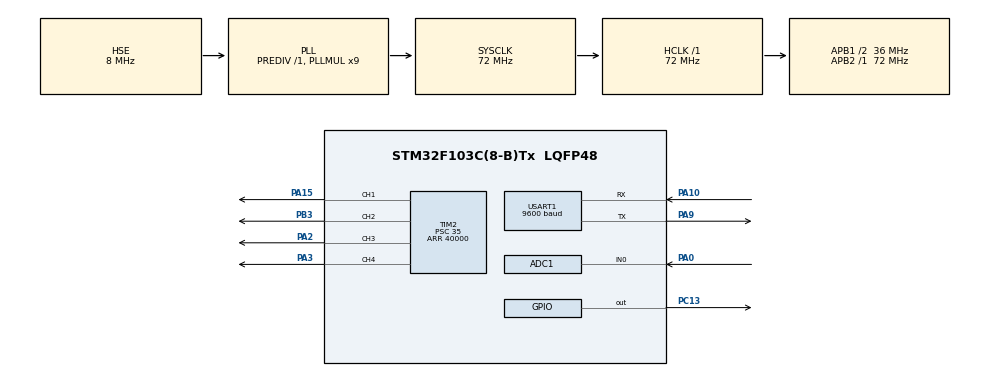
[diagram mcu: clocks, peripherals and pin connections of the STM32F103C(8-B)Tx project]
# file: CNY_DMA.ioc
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ADC1.Channel-0\#ChannelRegularConversion=ADC_CHANNEL_0
ADC1.ContinuousConvMode=ENABLE
ADC1.NbrOfConversionFlag=1
ADC1.Rank-0\#ChannelRegularConversion=1
ADC1.SamplingTime-0\#ChannelRegularConversion=ADC_SAMPLETIME_41CYCLES_5
ADC1.master=1
Dma.ADC1.0.Direction=DMA_PERIPH_TO_MEMORY
Dma.ADC1.0.Instance=DMA1_Channel1
Dma.ADC1.0.MemDataAlignment=DMA_MDATAALIGN_HALFWORD
Dma.ADC1.0.MemInc=DMA_MINC_ENABLE
Dma.ADC1.0.Mode=DMA_CIRCULAR
Dma.ADC1.0.PeriphDataAlignment=DMA_PDATAALIGN_HALFWORD
Dma.ADC1.0.PeriphInc=DMA_PINC_DISABLE
Dma.ADC1.0.Priority=DMA_PRIORITY_LOW
Dma.Request0=ADC1
Mcu.Family=STM32F1
Mcu.Name=STM32F103C(8-B)Tx
Mcu.Package=LQFP48
NVIC.DMA1_Channel1_IRQn=true\:0\:0\:false\:false\:true\:false\:true\:true
NVIC.PriorityGroup=NVIC_PRIORITYGROUP_4
NVIC.TIM1_UP_IRQn=true\:0\:0\:false\:false\:true\:true\:true\:true
PA0-WKUP.Signal=ADCx_IN0
PA10.Mode=Asynchronous
PA10.Signal=USART1_RX
PA13.Mode=Serial_Wire
PA13.Signal=SYS_JTMS-SWDIO
PA14.Mode=Serial_Wire
PA14.Signal=SYS_JTCK-SWCLK
PA15.Signal=S_TIM2_CH1_ETR
PA2.Signal=S_TIM2_CH3
PA3.Signal=S_TIM2_CH4
PA9.Mode=Asynchronous
PA9.Signal=USART1_TX
PB3.Signal=S_TIM2_CH2
PC13-TAMPER-RTC.Signal=GPIO_Output
PD0-OSC_IN.Mode=HSE-External-Oscillator
PD0-OSC_IN.Signal=RCC_OSC_IN
PD1-OSC_OUT.Mode=HSE-External-Oscillator
PD1-OSC_OUT.Signal=RCC_OSC_OUT
ProjectManager.HeapSize=0x200
ProjectManager.StackSize=0x400
ProjectManager.TargetToolchain=MDK-ARM V5.32
RCC.ADCPresc=RCC_ADCPCLK2_DIV8
RCC.AHBFreq_Value=72000000
RCC.APB1CLKDivider=RCC_HCLK_DIV2
RCC.APB1Freq_Value=36000000
RCC.APB1TimFreq_Value=72000000
RCC.APB2Freq_Value=72000000
RCC.APB2TimFreq_Value=72000000
RCC.HCLKFreq_Value=72000000
RCC.PLLMUL=RCC_PLL_MUL9
RCC.PLLSourceVirtual=RCC_PLLSOURCE_HSE
RCC.SYSCLKFreq_VALUE=72000000
RCC.SYSCLKSource=RCC_SYSCLKSOURCE_PLLCLK
RCC.USBFreq_Value=72000000
SH.ADCx_IN0.0=ADC1_IN0,IN0
SH.S_TIM2_CH1_ETR.0=TIM2_CH1,PWM Generation1 CH1
SH.S_TIM2_CH2.0=TIM2_CH2,PWM Generation2 CH2
SH.S_TIM2_CH3.0=TIM2_CH3,PWM Generation3 CH3
SH.S_TIM2_CH4.0=TIM2_CH4,PWM Generation4 CH4
TIM2.AutoReloadPreload=TIM_AUTORELOAD_PRELOAD_ENABLE
TIM2.Channel-PWM\ Generation1\ CH1=TIM_CHANNEL_1
TIM2.Channel-PWM\ Generation2\ CH2=TIM_CHANNEL_2
TIM2.Channel-PWM\ Generation3\ CH3=TIM_CHANNEL_3
TIM2.Channel-PWM\ Generation4\ CH4=TIM_CHANNEL_4
TIM2.Period=40000
TIM2.Prescaler=35
USART1.BaudRate=9600
USART1.VirtualMode=VM_ASYNC
VP_TIM1_VS_ClockSourceINT.Mode=Internal
VP_TIM2_VS_ClockSourceINT.Mode=Internal
board=custom

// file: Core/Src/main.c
/* USER CODE BEGIN Header */
/**
  ******************************************************************************
  * @file           : main.c
  * @brief          : Main program body
  ******************************************************************************
  * @attention
  *
  * Copyright (c) 2023 STMicroelectronics.
  * All rights reserved.
  *
  * This software is licensed under terms that can be found in the LICENSE file
  * in the root directory of this software component.
  * If no LICENSE file comes with this software, it is provided AS-IS.
  *
  ******************************************************************************
  */
/* USER CODE END Header */
#include "main.h"

/* USER CODE BEGIN Includes */
#include "stdio.h"
#include "string.h"
/* USER CODE END Includes */

ADC_HandleTypeDef hadc1;
DMA_HandleTypeDef hdma_adc1;

TIM_HandleTypeDef htim1;
TIM_HandleTypeDef htim2;

UART_HandleTypeDef huart1;

void SystemClock_Config(void);
static void MX_GPIO_Init(void);
static void MX_DMA_Init(void);
static void MX_ADC1_Init(void);
static void MX_TIM1_Init(void);
static void MX_TIM2_Init(void);
static void MX_USART1_UART_Init(void);
/* USER CODE BEGIN PFP */
static void setup_motor (void);
/* USER CODE END PFP */

/* USER CODE BEGIN 0 */
uint32_t var;
uint8_t status=0;
uint16_t n=0;
uint8_t stop=0;
uint32_t time=0;
float speech =0;
/* USER CODE END 0 */
uint16_t pwm_value = 2000;
uint16_t speech_max = 0;
int main(void)
{

  /* MCU Configuration--------------------------------------------------------*/

  /* Reset of all peripherals, Initializes the Flash interface and the Systick. */
  HAL_Init();

  /* Configure the system clock */
  SystemClock_Config();

  /* Initialize all configured peripherals */
  MX_GPIO_Init();
  MX_DMA_Init();
  MX_ADC1_Init();
  MX_TIM1_Init();
  MX_TIM2_Init();
  MX_USART1_UART_Init();
  /* USER CODE BEGIN 2 */

	HAL_TIM_PWM_Start(&htim2,TIM_CHANNEL_1);
	HAL_TIM_PWM_Start(&htim2,TIM_CHANNEL_2);
	HAL_TIM_PWM_Start(&htim2,TIM_CHANNEL_3);
	HAL_TIM_PWM_Start(&htim2,TIM_CHANNEL_4);

	//setup_motor();

	TIM2->CCR1 = 2000;
	TIM2->CCR2 = 2000;
	TIM2->CCR3 = 2000;
	TIM2->CCR4 = 2000;
	HAL_Delay(5000);

	//HAL_Delay(2000);

	TIM2->CCR2=2000;
	TIM2->CCR3=2000;
	TIM2->CCR4=2000;

	HAL_TIM_Base_Start_IT(&htim1);
	HAL_ADC_Start_DMA(&hadc1,&var,1);
  /* USER CODE END 2 */

  /* Infinite loop */
  while (1)
  {

    /* USER CODE BEGIN 3 */
switch( pwm_value )
{
    case 2200:
        speech_max = 60;
		 break;
    case 2400:
        speech_max = 110;
		 break;
		case 2600:
        speech_max = 165;
		 break;
		case 2800:
        speech_max = 210;
		 break;
		case 3000:
        speech_max = 255;
		 break;
		case 3200:
        speech_max = 290;
		 break;
    default :
        speech_max = 0;
}
		if (stop==0){
		TIM2->CCR1=pwm_value;
		}else{TIM2->CCR1=2000;}
		if(status==0){
			if(var > 1000){
			time+=1;
			status=1;}
		}else{
		if(status==1){
			if(var < 300){
			time+=1;
			status=0;}
		}
	}
}
  /* USER CODE END 3 */
}

void SystemClock_Config(void)
{
  RCC_OscInitTypeDef RCC_OscInitStruct = {0};
  RCC_ClkInitTypeDef RCC_ClkInitStruct = {0};
  RCC_PeriphCLKInitTypeDef PeriphClkInit = {0};

  /** Initializes the RCC Oscillators according to the specified parameters
  * in the RCC_OscInitTypeDef structure.
  */
  RCC_OscInitStruct.OscillatorType = RCC_OSCILLATORTYPE_HSE;
  RCC_OscInitStruct.HSEState = RCC_HSE_ON;
  RCC_OscInitStruct.HSEPredivValue = RCC_HSE_PREDIV_DIV1;
  RCC_OscInitStruct.HSIState = RCC_HSI_ON;
  RCC_OscInitStruct.PLL.PLLState = RCC_PLL_ON;
  RCC_OscInitStruct.PLL.PLLSource = RCC_PLLSOURCE_HSE;
  RCC_OscInitStruct.PLL.PLLMUL = RCC_PLL_MUL9;
  if (HAL_RCC_OscConfig(&RCC_OscInitStruct) != HAL_OK)
  {
    Error_Handler();
  }

  /** Initializes the CPU, AHB and APB buses clocks
  */
  RCC_ClkInitStruct.ClockType = RCC_CLOCKTYPE_HCLK|RCC_CLOCKTYPE_SYSCLK
                              |RCC_CLOCKTYPE_PCLK1|RCC_CLOCKTYPE_PCLK2;
  RCC_ClkInitStruct.SYSCLKSource = RCC_SYSCLKSOURCE_PLLCLK;
  RCC_ClkInitStruct.AHBCLKDivider = RCC_SYSCLK_DIV1;
  RCC_ClkInitStruct.APB1CLKDivider = RCC_HCLK_DIV2;
  RCC_ClkInitStruct.APB2CLKDivider = RCC_HCLK_DIV1;

  if (HAL_RCC_ClockConfig(&RCC_ClkInitStruct, FLASH_LATENCY_2) != HAL_OK)
  {
    Error_Handler();
  }
  PeriphClkInit.PeriphClockSelection = RCC_PERIPHCLK_ADC;
  PeriphClkInit.AdcClockSelection = RCC_ADCPCLK2_DIV8;
  if (HAL_RCCEx_PeriphCLKConfig(&PeriphClkInit) != HAL_OK)
  {
    Error_Handler();
  }
}

static void MX_ADC1_Init(void)
{

  ADC_ChannelConfTypeDef sConfig = {0};

  /** Common config
  */
  hadc1.Instance = ADC1;
  hadc1.Init.ScanConvMode = ADC_SCAN_DISABLE;
  hadc1.Init.ContinuousConvMode = ENABLE;
  hadc1.Init.DiscontinuousConvMode = DISABLE;
  hadc1.Init.ExternalTrigConv = ADC_SOFTWARE_START;
  hadc1.Init.DataAlign = ADC_DATAALIGN_RIGHT;
  hadc1.Init.NbrOfConversion = 1;
  if (HAL_ADC_Init(&hadc1) != HAL_OK)
  {
    Error_Handler();
  }

  /** Configure Regular Channel
  */
  sConfig.Channel = ADC_CHANNEL_0;
  sConfig.Rank = ADC_REGULAR_RANK_1;
  sConfig.SamplingTime = ADC_SAMPLETIME_41CYCLES_5;
  if (HAL_ADC_ConfigChannel(&hadc1, &sConfig) != HAL_OK)
  {
    Error_Handler();
  }

}

static void MX_TIM1_Init(void)
{

  TIM_ClockConfigTypeDef sClockSourceConfig = {0};
  TIM_MasterConfigTypeDef sMasterConfig = {0};

  htim1.Instance = TIM1;
  htim1.Init.Prescaler = 180;
  htim1.Init.CounterMode = TIM_COUNTERMODE_UP;
  htim1.Init.Period = 39999;
  htim1.Init.ClockDivision = TIM_CLOCKDIVISION_DIV1;
  htim1.Init.RepetitionCounter = 0;
  htim1.Init.AutoReloadPreload = TIM_AUTORELOAD_PRELOAD_DISABLE;
  if (HAL_TIM_Base_Init(&htim1) != HAL_OK)
  {
    Error_Handler();
  }
  sClockSourceConfig.ClockSource = TIM_CLOCKSOURCE_INTERNAL;
  if (HAL_TIM_ConfigClockSource(&htim1, &sClockSourceConfig) != HAL_OK)
  {
    Error_Handler();
  }
  sMasterConfig.MasterOutputTrigger = TIM_TRGO_RESET;
  sMasterConfig.MasterSlaveMode = TIM_MASTERSLAVEMODE_DISABLE;
  if (HAL_TIMEx_MasterConfigSynchronization(&htim1, &sMasterConfig) != HAL_OK)
  {
    Error_Handler();
  }

}

static void MX_TIM2_Init(void)
{

  TIM_ClockConfigTypeDef sClockSourceConfig = {0};
  TIM_MasterConfigTypeDef sMasterConfig = {0};
  TIM_OC_InitTypeDef sConfigOC = {0};

  htim2.Instance = TIM2;
  htim2.Init.Prescaler = 35;
  htim2.Init.CounterMode = TIM_COUNTERMODE_UP;
  htim2.Init.Period = 40000;
  htim2.Init.ClockDivision = TIM_CLOCKDIVISION_DIV1;
  htim2.Init.AutoReloadPreload = TIM_AUTORELOAD_PRELOAD_ENABLE;
  if (HAL_TIM_Base_Init(&htim2) != HAL_OK)
  {
    Error_Handler();
  }
  sClockSourceConfig.ClockSource = TIM_CLOCKSOURCE_INTERNAL;
  if (HAL_TIM_ConfigClockSource(&htim2, &sClockSourceConfig) != HAL_OK)
  {
    Error_Handler();
  }
  if (HAL_TIM_PWM_Init(&htim2) != HAL_OK)
  {
    Error_Handler();
  }
  sMasterConfig.MasterOutputTrigger = TIM_TRGO_RESET;
  sMasterConfig.MasterSlaveMode = TIM_MASTERSLAVEMODE_DISABLE;
  if (HAL_TIMEx_MasterConfigSynchronization(&htim2, &sMasterConfig) != HAL_OK)
  {
    Error_Handler();
  }
  sConfigOC.OCMode = TIM_OCMODE_PWM1;
  sConfigOC.Pulse = 0;
  sConfigOC.OCPolarity = TIM_OCPOLARITY_HIGH;
  sConfigOC.OCFastMode = TIM_OCFAST_DISABLE;
  if (HAL_TIM_PWM_ConfigChannel(&htim2, &sConfigOC, TIM_CHANNEL_1) != HAL_OK)
  {
    Error_Handler();
  }
  if (HAL_TIM_PWM_ConfigChannel(&htim2, &sConfigOC, TIM_CHANNEL_2) != HAL_OK)
  {
    Error_Handler();
  }
  if (HAL_TIM_PWM_ConfigChannel(&htim2, &sConfigOC, TIM_CHANNEL_3) != HAL_OK)
  {
    Error_Handler();
  }
  if (HAL_TIM_PWM_ConfigChannel(&htim2, &sConfigOC, TIM_CHANNEL_4) != HAL_OK)
  {
    Error_Handler();
  }
  HAL_TIM_MspPostInit(&htim2);

}

static void MX_USART1_UART_Init(void)
{

  huart1.Instance = USART1;
  huart1.Init.BaudRate = 9600;
  huart1.Init.WordLength = UART_WORDLENGTH_8B;
  huart1.Init.StopBits = UART_STOPBITS_1;
  huart1.Init.Parity = UART_PARITY_NONE;
  huart1.Init.Mode = UART_MODE_TX_RX;
  huart1.Init.HwFlowCtl = UART_HWCONTROL_NONE;
  huart1.Init.OverSampling = UART_OVERSAMPLING_16;
  if (HAL_UART_Init(&huart1) != HAL_OK)
  {
    Error_Handler();
  }

}

static void MX_DMA_Init(void)
{

  /* DMA controller clock enable */
  __HAL_RCC_DMA1_CLK_ENABLE();

  /* DMA interrupt init */
  /* DMA1_Channel1_IRQn interrupt configuration */
  HAL_NVIC_SetPriority(DMA1_Channel1_IRQn, 0, 0);
  HAL_NVIC_EnableIRQ(DMA1_Channel1_IRQn);

}

static void MX_GPIO_Init(void)
{
  GPIO_InitTypeDef GPIO_InitStruct = {0};

  /* GPIO Ports Clock Enable */
  __HAL_RCC_GPIOC_CLK_ENABLE();
  __HAL_RCC_GPIOD_CLK_ENABLE();
  __HAL_RCC_GPIOA_CLK_ENABLE();
  __HAL_RCC_GPIOB_CLK_ENABLE();

  /*Configure GPIO pin Output Level */
  HAL_GPIO_WritePin(GPIOC, GPIO_PIN_13, GPIO_PIN_RESET);

  /*Configure GPIO pin : PC13 */
  GPIO_InitStruct.Pin = GPIO_PIN_13;
  GPIO_InitStruct.Mode = GPIO_MODE_OUTPUT_PP;
  GPIO_InitStruct.Pull = GPIO_NOPULL;
  GPIO_InitStruct.Speed = GPIO_SPEED_FREQ_LOW;
  HAL_GPIO_Init(GPIOC, &GPIO_InitStruct);

}

/* USER CODE BEGIN 4 */
static void setup_motor (void)
{
		uint16_t pwm_value;

		HAL_GPIO_TogglePin(GPIOC, GPIO_PIN_13);
		HAL_Delay(1000);
		HAL_GPIO_TogglePin(GPIOC, GPIO_PIN_13);
		HAL_Delay(1000);
		HAL_GPIO_TogglePin(GPIOC, GPIO_PIN_13);
		HAL_Delay(1000);
		HAL_GPIO_TogglePin(GPIOC, GPIO_PIN_13);
		HAL_Delay(1000);
		//Set Max value of PWM
		//ADC_Value[0] = 4000;//Maximun of ADC Read from NRF
		pwm_value = 4000;
		TIM2->CCR1 = pwm_value;
		TIM2->CCR2 = pwm_value;
		TIM2->CCR3 = pwm_value;
		TIM2->CCR4 = pwm_value;

		HAL_GPIO_TogglePin(GPIOC, GPIO_PIN_13);
		HAL_Delay(1000);
		HAL_GPIO_TogglePin(GPIOC, GPIO_PIN_13);
		HAL_Delay(1000);
		HAL_GPIO_TogglePin(GPIOC, GPIO_PIN_13);
		HAL_Delay(1000);
		HAL_GPIO_TogglePin(GPIOC, GPIO_PIN_13);
		HAL_Delay(1000);

		HAL_GPIO_TogglePin(GPIOC, GPIO_PIN_13);
		//Minimun of ADC Read from NRF
		pwm_value = 2000;
		TIM2->CCR1 = pwm_value;
		TIM2->CCR2 = pwm_value;
		TIM2->CCR3 = pwm_value;
		TIM2->CCR4 = pwm_value;
		HAL_Delay(4000);
}

void HAL_TIM_PeriodElapsedCallback(TIM_HandleTypeDef *htim)
{

	char str[13];
	if(htim->Instance==TIM1){
			speech = time/4;
			time = 0;
			sprintf(str,"%f,%i\r\n",speech*10,speech_max);
			HAL_UART_Transmit(&huart1,(uint8_t*)str,strlen(str),0x100);
			}

//	n+=1;
//	if (n%20==0){
//		pwm_value+=100;
//		n=0;
//	}
//	if(pwm_value>3000){
//		stop=1;
//	}
}

/* USER CODE END 4 */

void Error_Handler(void)
{
  __disable_irq();
  while (1)
  {
  }
}
